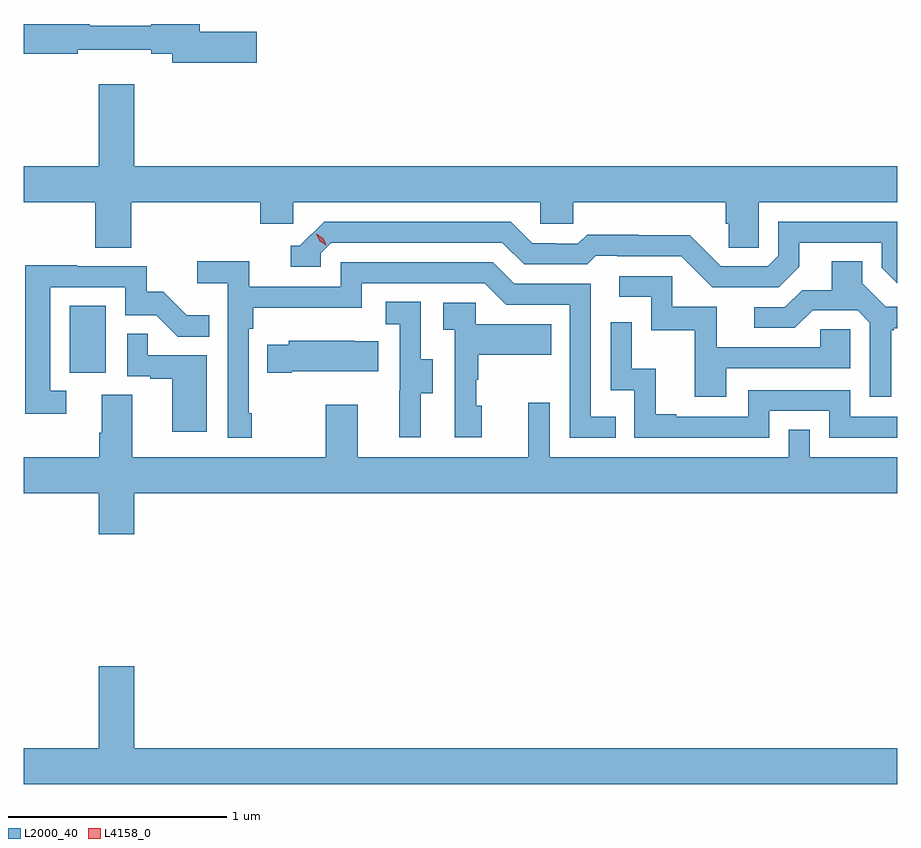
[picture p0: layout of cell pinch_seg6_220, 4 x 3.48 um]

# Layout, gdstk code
import gdstk
lib = gdstk.Library(unit=1e-6, precision=1e-09)
def R(c, l, rs):  # rectangles x0, y0, x1, y1
    for r in rs: c.add(gdstk.rectangle(r[:2], r[2:], *l))
def P(c, l, *ps):  # polygons
    for p in ps: c.add(gdstk.Polygon(p, *l))
L2000_40 = (2000, 40)
L4158_0 = (4158, 0)

pinch_seg6_220 = lib.new_cell('pinch_seg6_220')
R(pinch_seg6_220, L2000_40, [(1141.898,934.566,1142.062,934.873)])
P(pinch_seg6_220, L2000_40, [(1142.755,936.128),(1142.494,936.128),(1142.494,936.164),(1142.27,936.164),(1142.27,936.157),(1141.99,936.157),(1141.99,936.164),(1141.687,936.164),(1141.687,936.028),(1141.934,936.028),(1141.934,936.047),(1142.27,936.047),(1142.27,936.028),(1142.366,936.028),(1142.366,935.986),(1142.755,935.986)],
  [(1142.18,935.348),(1142.771,935.348),(1142.771,935.25),(1142.922,935.25),(1142.922,935.348),(1144.053,935.348),(1144.053,935.25),(1144.203,935.25),(1144.203,935.348),(1144.901,935.348),(1144.901,935.25),(1144.915,935.25),(1144.915,935.14),(1145.052,935.14),(1145.052,935.348),(1145.687,935.348),(1145.687,935.512),(1142.194,935.512),(1142.194,935.887),(1142.03,935.887),(1142.03,935.512),(1141.687,935.512),(1141.687,935.348),(1142.015,935.348),(1142.015,935.14),(1142.18,935.14)],
  [(1145.239,935.053),(1145.239,935.163),(1145.616,935.163),(1145.616,935.049),(1145.687,934.978),(1145.687,935.259),(1145.142,935.259),(1145.142,935.103),(1145.094,935.055),(1144.878,935.055),(1144.736,935.197),(1144.5,935.197),(1144.5,935.2),(1144.267,935.2),(1144.225,935.157),(1144.122,935.157),(1144.122,935.16),(1144.015,935.16),(1143.916,935.259),(1143.063,935.259),(1142.952,935.148),(1142.909,935.148),(1142.909,935.052),(1143.048,935.052),(1143.048,935.115),(1143.096,935.163),(1143.879,935.163),(1143.978,935.064),(1144.267,935.064),(1144.306,935.103),(1144.405,935.103),(1144.405,935.1),(1144.698,935.1),(1144.839,934.959),(1145.145,934.959)],
  [(1142.731,934.381),(1142.718,934.381),(1142.718,934.769),(1142.738,934.769),(1142.738,934.865),(1143.234,934.865),(1143.234,934.977),(1143.798,934.977),(1143.897,934.878),(1144.188,934.878),(1144.188,934.269),(1144.397,934.269),(1144.397,934.365),(1144.284,934.365),(1144.284,934.974),(1143.934,934.974),(1143.835,935.073),(1143.138,935.073),(1143.138,934.962),(1142.72,934.962),(1142.72,935.078),(1142.481,935.078),(1142.481,934.976),(1142.622,934.976),(1142.622,934.269),(1142.731,934.269)],
  [(1145.659,934.761),(1145.671,934.761),(1145.671,934.772),(1145.687,934.772),(1145.687,934.869),(1145.634,934.869),(1145.527,934.976),(1145.527,935.078),(1145.387,935.078),(1145.387,934.946),(1145.252,934.946),(1145.172,934.866),(1145.031,934.866),(1145.031,934.773),(1145.218,934.773),(1145.299,934.854),(1145.505,934.854),(1145.562,934.797),(1145.562,934.458),(1145.659,934.458)],
  [(1141.882,934.485),(1141.809,934.485),(1141.809,934.959),(1142.151,934.959),(1142.151,934.83),(1142.295,934.83),(1142.393,934.732),(1142.537,934.732),(1142.537,934.831),(1142.433,934.831),(1142.326,934.938),(1142.25,934.938),(1142.25,935.055),(1141.931,935.055),(1141.931,935.06),(1141.693,935.06),(1141.693,934.38),(1141.882,934.38)],
  [(1144.903,934.587),(1145.472,934.587),(1145.472,934.767),(1145.335,934.767),(1145.335,934.683),(1144.861,934.683),(1144.861,934.869),(1144.656,934.869),(1144.656,935.01),(1144.413,935.01),(1144.413,934.914),(1144.56,934.914),(1144.56,934.761),(1144.759,934.761),(1144.759,934.458),(1144.903,934.458)],
  [(1143.505,934.474),(1143.559,934.474),(1143.559,934.629),(1143.504,934.629),(1143.504,934.892),(1143.345,934.892),(1143.345,934.789),(1143.408,934.789),(1143.408,934.485),(1143.407,934.485),(1143.407,934.272),(1143.505,934.272)],
  [(1143.784,934.416),(1143.759,934.416),(1143.759,934.535),(1143.769,934.535),(1143.769,934.649),(1144.103,934.649),(1144.103,934.789),(1143.756,934.789),(1143.756,934.887),(1143.609,934.887),(1143.609,934.763),(1143.66,934.763),(1143.66,934.272),(1143.784,934.272)],
  [(1145.1,934.392),(1145.376,934.392),(1145.376,934.269),(1145.687,934.269),(1145.687,934.365),(1145.472,934.365),(1145.472,934.488),(1145.004,934.488),(1145.004,934.365),(1144.675,934.365),(1144.675,934.378),(1144.58,934.378),(1144.58,934.586),(1144.47,934.586),(1144.47,934.798),(1144.374,934.798),(1144.374,934.488),(1144.482,934.488),(1144.482,934.269),(1145.1,934.269)],
  [(1142.524,934.647),(1142.255,934.647),(1142.255,934.745),(1142.16,934.745),(1142.16,934.551),(1142.267,934.551),(1142.267,934.539),(1142.366,934.539),(1142.366,934.296),(1142.524,934.296)],
  [(1142.914,934.574),(1143.311,934.574),(1143.311,934.711),(1143.203,934.711),(1143.203,934.714),(1142.901,934.714),(1142.901,934.696),(1142.803,934.696),(1142.803,934.567),(1142.914,934.567)],
  [(1142.194,934.016),(1145.687,934.016),(1145.687,934.18),(1145.286,934.18),(1145.286,934.307),(1145.19,934.307),(1145.19,934.18),(1144.095,934.18),(1144.095,934.429),(1143.998,934.429),(1143.998,934.18),(1143.217,934.18),(1143.217,934.42),(1143.07,934.42),(1143.07,934.18),(1142.185,934.18),(1142.185,934.466),(1142.045,934.466),(1142.045,934.292),(1142.033,934.292),(1142.033,934.18),(1141.687,934.18),(1141.687,934.016),(1142.03,934.016),(1142.03,933.828),(1142.194,933.828)],
  [(1145.687,932.848),(1142.194,932.848),(1142.194,933.223),(1142.03,933.223),(1142.03,932.848),(1141.687,932.848),(1141.687,932.684),(1145.687,932.684)])
P(pinch_seg6_220, L4158_0, [(1143.073,935.15),(1143.042,935.17),(1143.027,935.203),(1143.027,935.203),(1143.027,935.203),(1143.058,935.183),(1143.073,935.15),(1143.073,935.15)])

lib.write_gds('pinch_seg6_220.gds')
